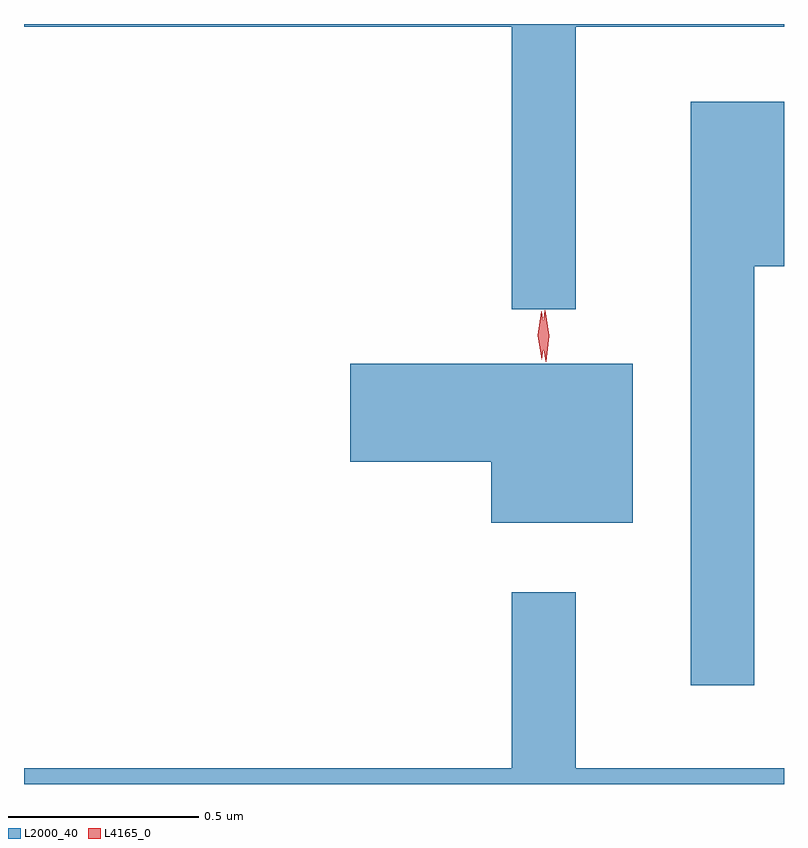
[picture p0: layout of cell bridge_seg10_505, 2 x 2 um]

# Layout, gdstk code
import gdstk
lib = gdstk.Library(unit=1e-6, precision=1e-09)
def P(c, l, *ps):  # polygons
    for p in ps: c.add(gdstk.Polygon(p, *l))
L2000_40 = (2000, 40)
L4165_0 = (4165, 0)

bridge_seg10_505 = lib.new_cell('bridge_seg10_505')
P(bridge_seg10_505, L2000_40, [(968.839,2189.396),(969.387,2189.396),(969.387,2189.403),(967.387,2189.403),(967.387,2189.396),(968.671,2189.396),(968.671,2188.653),(968.839,2188.653)],
  [(969.309,2188.766),(969.387,2188.766),(969.387,2189.199),(969.141,2189.199),(969.141,2187.663),(969.309,2187.663)],
  [(968.989,2188.509),(968.246,2188.509),(968.246,2188.251),(968.616,2188.251),(968.616,2188.091),(968.989,2188.091)],
  [(969.387,2187.444),(968.839,2187.444),(968.839,2187.908),(968.671,2187.908),(968.671,2187.444),(967.387,2187.444),(967.387,2187.403),(969.387,2187.403)])
P(bridge_seg10_505, L4165_0, [(968.76,2188.514),(968.76,2188.514),(968.75,2188.582),(968.758,2188.65),(968.759,2188.65),(968.759,2188.65),(968.769,2188.582),(968.761,2188.514)],
  [(968.749,2188.52),(968.739,2188.584),(968.748,2188.646),(968.748,2188.647),(968.749,2188.646),(968.759,2188.584),(968.75,2188.52),(968.75,2188.52)])

lib.write_gds('bridge_seg10_505.gds')
